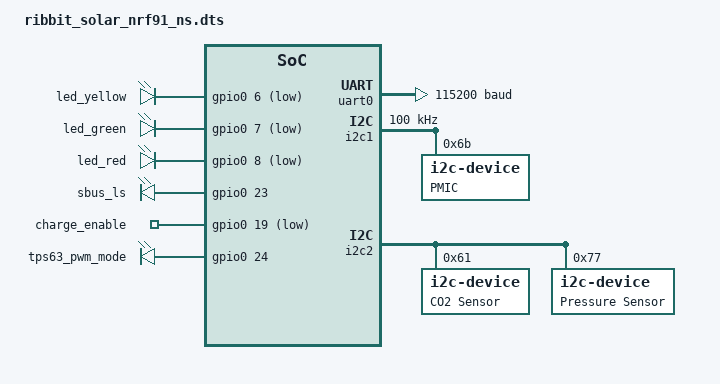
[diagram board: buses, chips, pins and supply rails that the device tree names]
/dts-v1/;
#include <nordic/nrf9151ns_laca.dtsi>
#include "ribbit_solar_nrf91-pinctrl.dtsi"
#include "ribbit_solar_nrf91-partitioning.dtsi"

#include <zephyr/dt-bindings/i2c/i2c.h>

/ {
	chosen {
		zephyr,flash = &flash0;
		zephyr,sram = &sram0_ns;
		zephyr,code-partition = &slot0_ns_partition;
		zephyr,console = &uart0;
		zephyr,shell-uart = &uart0;
	};

	aliases {
		led0 = &led_green;
	};

	leds {
		compatible = "gpio-leds";
		led_yellow: led_yellow {
			gpios = <&gpio0 6 GPIO_ACTIVE_LOW>;
		};
		led_green: led_green {
			gpios = <&gpio0 7 GPIO_ACTIVE_LOW>;
		};
		led_red: led_red {
			gpios = <&gpio0 8 GPIO_ACTIVE_LOW>;
		};
	};

	enables {
		compatible = "gpio-leds";
		sbus_ls: sbus_ls {
			gpios = <&gpio0 23 GPIO_ACTIVE_HIGH>;
		};
		charge_enable: charge_enable {
			gpios = <&gpio0 19 GPIO_ACTIVE_LOW>;
		};
		tps63_pwm_mode: tps63_pwm_mode {
			gpios = <&gpio0 24 GPIO_ACTIVE_HIGH>;
		};
	};
};

&gpiote {
	status = "okay";
};

&gpio0 {
	status = "okay";
};

&uart0 {
	compatible = "nordic,nrf-uarte";
	status = "okay";
	current-speed = <115200>;
	pinctrl-0 = <&uart0_default>;
	pinctrl-1 = <&uart0_sleep>;
	pinctrl-names = "default", "sleep";
};

&i2c1 {
	compatible = "nordic,nrf-twim";
	status = "okay";
	clock-frequency = <I2C_BITRATE_STANDARD>;

	pinctrl-0 = <&i2c1_default>;
	pinctrl-names = "default";

	bq25798: bq25798@6b {
		compatible = "i2c-device";
		reg = <0x6b>;
		label = "PMIC";
	};
};

&i2c2 {
	compatible = "nordic,nrf-twim";
	status = "okay";
	pinctrl-0 = <&i2c2_default>;
	pinctrl-names = "default";

	scd30: scd30@61 {
		compatible = "i2c-device";
		reg = <0x61>;
		label = "CO2 Sensor";
	};

	dps310: dps310@77 {
		compatible = "i2c-device";
		// compatible = "infineon,dps310";
		reg = <0x77>;
		label = "Pressure Sensor";
	};

};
